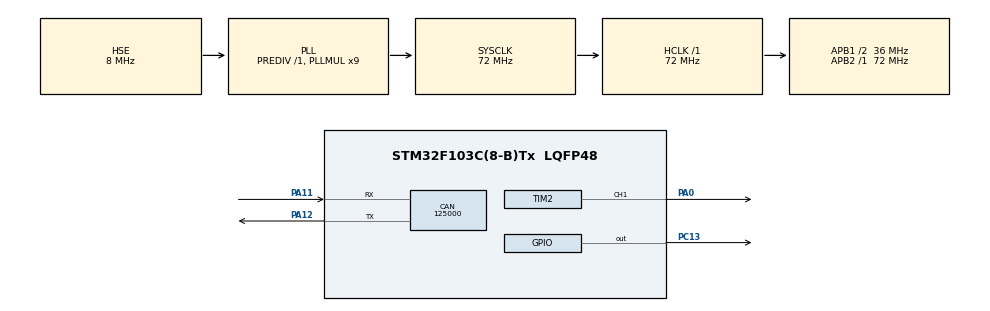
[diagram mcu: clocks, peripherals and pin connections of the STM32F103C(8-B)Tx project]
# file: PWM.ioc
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CAN.BS1=CAN_BS1_12TQ
CAN.BS2=CAN_BS2_5TQ
CAN.CalculateBaudRate=125000
CAN.CalculateTimeBit=7999.99
CAN.CalculateTimeQuantum=444.44444444444446
Mcu.Family=STM32F1
Mcu.Name=STM32F103C(8-B)Tx
Mcu.Package=LQFP48
NVIC.CAN1_RX1_IRQn=true\:0\:0\:false\:false\:true\:true\:true
NVIC.PriorityGroup=NVIC_PRIORITYGROUP_4
PA0-WKUP.Signal=S_TIM2_CH1_ETR
PA11.Mode=CAN_Activate
PA11.Signal=CAN_RX
PA12.Mode=CAN_Activate
PA12.Signal=CAN_TX
PA13.Mode=Serial_Wire
PA13.Signal=SYS_JTMS-SWDIO
PA14.Mode=Serial_Wire
PA14.Signal=SYS_JTCK-SWCLK
PC13-TAMPER-RTC.Signal=GPIO_Output
PD0-OSC_IN.Mode=HSE-External-Oscillator
PD0-OSC_IN.Signal=RCC_OSC_IN
PD1-OSC_OUT.Mode=HSE-External-Oscillator
PD1-OSC_OUT.Signal=RCC_OSC_OUT
ProjectManager.HeapSize=0x200
ProjectManager.StackSize=0x400
ProjectManager.TargetToolchain=STM32CubeIDE
RCC.ADCPresc=RCC_ADCPCLK2_DIV6
RCC.AHBFreq_Value=72000000
RCC.APB1CLKDivider=RCC_HCLK_DIV2
RCC.APB1Freq_Value=36000000
RCC.APB1TimFreq_Value=72000000
RCC.APB2Freq_Value=72000000
RCC.APB2TimFreq_Value=72000000
RCC.HCLKFreq_Value=72000000
RCC.PLLMUL=RCC_PLL_MUL9
RCC.PLLSourceVirtual=RCC_PLLSOURCE_HSE
RCC.SYSCLKFreq_VALUE=72000000
RCC.SYSCLKSource=RCC_SYSCLKSOURCE_PLLCLK
RCC.USBFreq_Value=72000000
SH.S_TIM2_CH1_ETR.0=TIM2_CH1,PWM Generation1 CH1
TIM2.Channel-PWM\ Generation1\ CH1=TIM_CHANNEL_1
TIM2.Period=1999
TIM2.Prescaler=71
board=custom

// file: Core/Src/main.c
/* USER CODE BEGIN Header */
/**
  **************************
  * @file           : main.c
  * @brief          : Main program body
  **************************
  * @attention
  *
  * <h2><center>&copy; Copyright (c) 2021 STMicroelectronics.
  * All rights reserved.</center></h2>
  *
  * This software component is licensed by ST under BSD 3-Clause license,
  * the "License"; You may not use this file except in compliance with the
  * License. You may obtain a copy of the License at:
  *                        opensource.org/licenses/BSD-3-Clause
  *
  **************************
  */
/* USER CODE END Header */
#include "main.h"

CAN_HandleTypeDef hcan;

TIM_HandleTypeDef htim2;

void SystemClock_Config(void);
static void MX_GPIO_Init(void);
static void MX_CAN_Init(void);
static void MX_TIM2_Init(void);

/* USER CODE BEGIN 0 */

CAN_TxHeaderTypeDef TxHeader;
CAN_RxHeaderTypeDef RxHeader;

uint8_t TxData[8];
uint8_t RxData[8];

uint32_t TxMailbox;

int datacheck = 0;

void HAL_CAN_RxFifo1MsgPendingCallback(CAN_HandleTypeDef *hcan) //Função para recebimento de mensagens via CAN
{
	HAL_CAN_GetRxMessage(hcan, CAN_RX_FIFO1, &RxHeader, RxData);
	if (RxHeader.DLC == 2)
	{
		datacheck = 1; // Variavel para indicar que uma mensagem foi recebida
	}
}

/* USER CODE END 0 */

int main(void)
{

  /* MCU Configuration--------------------------------------------------------*/

  /* Reset of all peripherals, Initializes the Flash interface and the Systick. */
  HAL_Init();

  /* Configure the system clock */
  SystemClock_Config();

  /* Initialize all configured peripherals */
  MX_GPIO_Init();
  MX_CAN_Init();
  MX_TIM2_Init();
  /* USER CODE BEGIN 2 */
  HAL_CAN_Start(&hcan);

  // Activate the notification
  HAL_CAN_ActivateNotification(&hcan, CAN_IT_RX_FIFO1_MSG_PENDING);

  TxHeader.DLC = 2;  // Quantidade de bytes para envio de mensagens maximo são 8 mas só foram necessarios 2
  TxHeader.IDE = CAN_ID_STD; // Indicação do tipo de ID neste caso ID Standarf
  TxHeader.RTR = CAN_RTR_DATA;
  TxHeader.StdId = 0x102;   // ID  do dispositivo

  /* USER CODE END 2 */

  /* Infinite loop */
  while (1)
  {

    /* USER CODE BEGIN 3 */

	  if(datacheck)
	  {
		  HAL_GPIO_TogglePin(GPIOC, GPIO_PIN_13);// Alternando o estado do LED

		  __HAL_TIM_SET_COMPARE(&htim2, TIM_CHANNEL_1, RxData[0]/0.1); //Montando o sinal de PWM a partir do dados especificado e do Timer

		 HAL_TIM_PWM_Start(&htim2, TIM_CHANNEL_1); // Enviando sinal do PWM para o pino correspondente ao canal

		  datacheck = 0; // Zerando a variavel de indicação

	  	  TxData[0] = 1;
	  	  TxData[1] = 1;

	  	  HAL_CAN_AddTxMessage(&hcan, &TxHeader, TxData, &TxMailbox); // enviando a mensagem para rede CAN
	  }
  }
  /* USER CODE END 3 */
}

void SystemClock_Config(void)
{
  RCC_OscInitTypeDef RCC_OscInitStruct = {0};
  RCC_ClkInitTypeDef RCC_ClkInitStruct = {0};

  /** Initializes the RCC Oscillators according to the specified parameters
  * in the RCC_OscInitTypeDef structure.
  */
  RCC_OscInitStruct.OscillatorType = RCC_OSCILLATORTYPE_HSE;
  RCC_OscInitStruct.HSEState = RCC_HSE_ON;
  RCC_OscInitStruct.HSEPredivValue = RCC_HSE_PREDIV_DIV1;
  RCC_OscInitStruct.HSIState = RCC_HSI_ON;
  RCC_OscInitStruct.PLL.PLLState = RCC_PLL_ON;
  RCC_OscInitStruct.PLL.PLLSource = RCC_PLLSOURCE_HSE;
  RCC_OscInitStruct.PLL.PLLMUL = RCC_PLL_MUL9;
  if (HAL_RCC_OscConfig(&RCC_OscInitStruct) != HAL_OK)
  {
    Error_Handler();
  }
  /** Initializes the CPU, AHB and APB buses clocks
  */
  RCC_ClkInitStruct.ClockType = RCC_CLOCKTYPE_HCLK|RCC_CLOCKTYPE_SYSCLK
                              |RCC_CLOCKTYPE_PCLK1|RCC_CLOCKTYPE_PCLK2;
  RCC_ClkInitStruct.SYSCLKSource = RCC_SYSCLKSOURCE_PLLCLK;
  RCC_ClkInitStruct.AHBCLKDivider = RCC_SYSCLK_DIV1;
  RCC_ClkInitStruct.APB1CLKDivider = RCC_HCLK_DIV2;
  RCC_ClkInitStruct.APB2CLKDivider = RCC_HCLK_DIV1;

  if (HAL_RCC_ClockConfig(&RCC_ClkInitStruct, FLASH_LATENCY_2) != HAL_OK)
  {
    Error_Handler();
  }
}

static void MX_CAN_Init(void)
{

  hcan.Instance = CAN1;
  hcan.Init.Prescaler = 16;
  hcan.Init.Mode = CAN_MODE_NORMAL;
  hcan.Init.SyncJumpWidth = CAN_SJW_1TQ;
  hcan.Init.TimeSeg1 = CAN_BS1_12TQ;
  hcan.Init.TimeSeg2 = CAN_BS2_5TQ;
  hcan.Init.TimeTriggeredMode = DISABLE;
  hcan.Init.AutoBusOff = DISABLE;
  hcan.Init.AutoWakeUp = DISABLE;
  hcan.Init.AutoRetransmission = DISABLE;
  hcan.Init.ReceiveFifoLocked = DISABLE;
  hcan.Init.TransmitFifoPriority = DISABLE;
  if (HAL_CAN_Init(&hcan) != HAL_OK)
  {
    Error_Handler();
  }
  /* USER CODE BEGIN CAN_Init 2 */

  CAN_FilterTypeDef canfilterconfig;

  canfilterconfig.FilterActivation = CAN_FILTER_ENABLE;
  canfilterconfig.FilterBank = 12;  // which filter bank to use from the assigned ones
  canfilterconfig.FilterFIFOAssignment = CAN_FILTER_FIFO1;
  canfilterconfig.FilterIdHigh = 0x103<<5;
  canfilterconfig.FilterIdLow = 0;
  canfilterconfig.FilterMaskIdHigh = 0x103<<5;
  canfilterconfig.FilterMaskIdLow = 0x0000;
  canfilterconfig.FilterMode = CAN_FILTERMODE_IDMASK;
  canfilterconfig.FilterScale = CAN_FILTERSCALE_32BIT;
  canfilterconfig.SlaveStartFilterBank = 0;  // doesn't matter in single can controllers

  HAL_CAN_ConfigFilter(&hcan, &canfilterconfig);

  /* USER CODE END CAN_Init 2 */

}

static void MX_TIM2_Init(void)
{

  TIM_MasterConfigTypeDef sMasterConfig = {0};
  TIM_OC_InitTypeDef sConfigOC = {0};

  htim2.Instance = TIM2;
  htim2.Init.Prescaler = 71;
  htim2.Init.CounterMode = TIM_COUNTERMODE_UP;
  htim2.Init.Period = 1999;
  htim2.Init.ClockDivision = TIM_CLOCKDIVISION_DIV1;
  htim2.Init.AutoReloadPreload = TIM_AUTORELOAD_PRELOAD_DISABLE;
  if (HAL_TIM_PWM_Init(&htim2) != HAL_OK)
  {
    Error_Handler();
  }
  sMasterConfig.MasterOutputTrigger = TIM_TRGO_RESET;
  sMasterConfig.MasterSlaveMode = TIM_MASTERSLAVEMODE_DISABLE;
  if (HAL_TIMEx_MasterConfigSynchronization(&htim2, &sMasterConfig) != HAL_OK)
  {
    Error_Handler();
  }
  sConfigOC.OCMode = TIM_OCMODE_PWM1;
  sConfigOC.Pulse = 0;
  sConfigOC.OCPolarity = TIM_OCPOLARITY_HIGH;
  sConfigOC.OCFastMode = TIM_OCFAST_DISABLE;
  if (HAL_TIM_PWM_ConfigChannel(&htim2, &sConfigOC, TIM_CHANNEL_1) != HAL_OK)
  {
    Error_Handler();
  }
  HAL_TIM_MspPostInit(&htim2);

}

static void MX_GPIO_Init(void)
{
  GPIO_InitTypeDef GPIO_InitStruct = {0};

  /* GPIO Ports Clock Enable */
  __HAL_RCC_GPIOC_CLK_ENABLE();
  __HAL_RCC_GPIOD_CLK_ENABLE();
  __HAL_RCC_GPIOA_CLK_ENABLE();

  /*Configure GPIO pin Output Level */
  HAL_GPIO_WritePin(GPIOC, GPIO_PIN_13, GPIO_PIN_RESET);

  /*Configure GPIO pin : PC13 */
  GPIO_InitStruct.Pin = GPIO_PIN_13;
  GPIO_InitStruct.Mode = GPIO_MODE_OUTPUT_PP;
  GPIO_InitStruct.Pull = GPIO_NOPULL;
  GPIO_InitStruct.Speed = GPIO_SPEED_FREQ_LOW;
  HAL_GPIO_Init(GPIOC, &GPIO_InitStruct);

}

void Error_Handler(void)
{
  __disable_irq();
  while (1)
  {
  }
}

/************************ (C) COPYRIGHT STMicroelectronics *****END OF FILE****/
